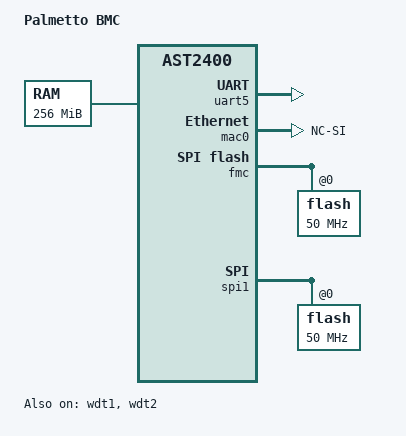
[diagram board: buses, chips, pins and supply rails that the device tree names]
// SPDX-License-Identifier: GPL-2.0+
/dts-v1/;

#include "ast2400-u-boot.dtsi"

/ {
	model = "Palmetto BMC";
	compatible = "tyan,palmetto-bmc", "aspeed,ast2400";

	memory@40000000 {
		device_type = "memory";
		reg = <0x40000000 0x10000000>;
	};

	chosen {
		stdout-path = &uart5;
	};

	aliases {
		spi0 = &fmc;
		spi1 = &spi1;
	};
};

&uart5 {
	u-boot,dm-pre-reloc;
	status = "okay";
};

&sdrammc {
	clock-frequency = <200000000>;
};

&wdt1 {
	u-boot,dm-pre-reloc;
	status = "okay";
};

&wdt2 {
	u-boot,dm-pre-reloc;
	status = "okay";
};

&mac0 {
	status = "okay";

	phy-mode = "NC-SI";
	use-ncsi;
	pinctrl-names = "default";
	pinctrl-0 = <&pinctrl_rmii1_default>;
};

&fmc {
	status = "okay";
	flash@0 {
		status = "okay";
		spi-max-frequency = <50000000>;
		spi-tx-bus-width = <2>;
		spi-rx-bus-width = <2>;
	};
};

&spi1 {
	status = "okay";
	flash@0 {
		pinctrl-names = "default";
		pinctrl-0 = <&pinctrl_spi1_default>;
		status = "okay";
		spi-max-frequency = <50000000>;
		spi-tx-bus-width = <2>;
		spi-rx-bus-width = <2>;
	};
};
